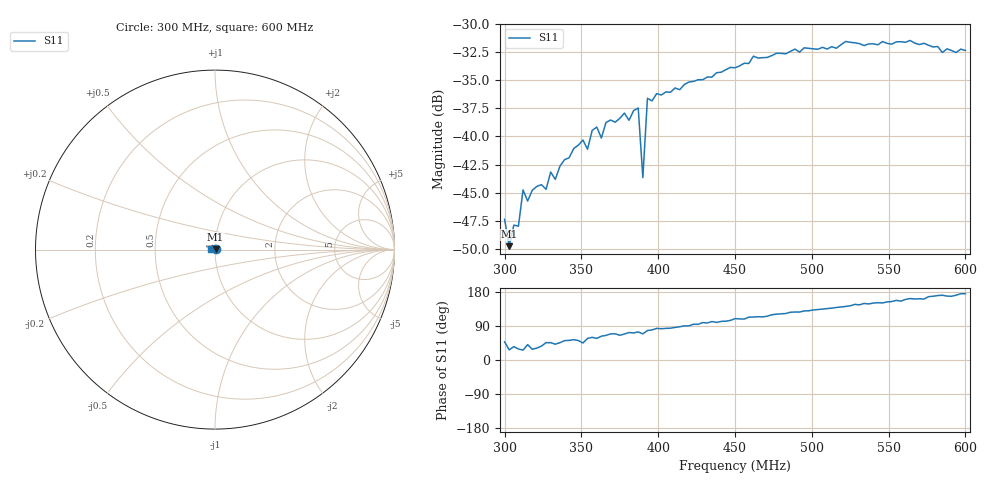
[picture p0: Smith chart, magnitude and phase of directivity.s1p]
! Created with skrf 1.8.0 (http://scikit-rf.org).
# Hz S RI R 50.0
!freq ReS11 ImS11
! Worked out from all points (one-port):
!   101 points, 300 MHz to 600 MHz, reference 50 ohm
!   lowest |S11| = -49.8 dB at 303 MHz (marker M1), VSWR 1.01, Z = 50.3 + j0.147 ohm
!   |S11| at or under -10 dB: start of sweep to end of sweep
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3e8  0.00287 0.00317
3.03e8  0.0029 0.00146
3.06e8  0.00329 0.00233
3.09e8  0.00349 0.00193
3.12e8  0.00519 0.00254
3.15e8  0.00392 0.00335
3.21e8  0.00511 0.00313
3.27e8  0.00405 0.00417
3.3e8  0.00486 0.00497
3.33e8  0.00481 0.00428
3.39e8  0.00496 0.00613
3.51e8  0.00681 0.00681
3.54e8  0.00479 0.00735
3.57e8  0.00535 0.00919
3.6e8  0.00599 0.00923
3.63e8  0.0045 0.00875
3.66e8  0.00489 0.0104
3.75e8  0.00504 0.0109
3.81e8  0.00356 0.0112
3.87e8  0.00366 0.0129
3.9e8  0.00235 0.00613
3.93e8  0.00314 0.0144
4.14e8  0.000637 0.0161
4.5e8  -0.00664 0.0191
4.89e8  -0.0146 0.0196
5.25e8  -0.021 0.0158
5.64e8  -0.0255 0.00816
6e8  -0.024 0.00212
